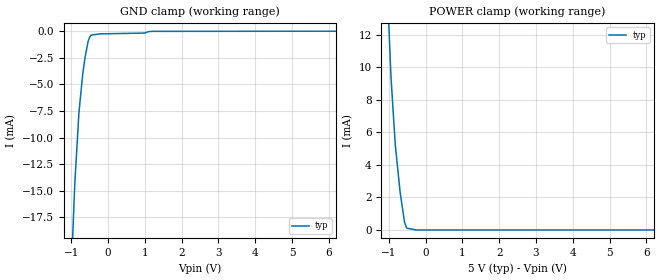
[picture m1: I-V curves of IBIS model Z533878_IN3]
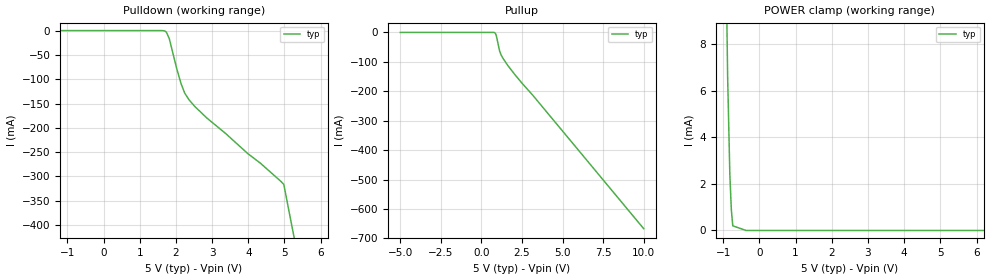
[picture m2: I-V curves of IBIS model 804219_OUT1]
| COPYRIGHT(C) MENTOR GRAPHICS CORPORATION 2001 ALL
| RIGHTS RESERVED. THIS WORK CONTAINS PROPRIETARY
| INFORMATION WHICH IS THE PROPERTY OF MENTOR GRAPHICS
| CORPORATION OR ITS LICENSORS. USE OF THESE MATERIALS
| IS SUBJECT TO THE TERMS BELOW.
| USE: MENTOR GRAPHICS HAS LICENSED IBIS MODELS TO
| SPECIFIC INTEGRATED CIRCUIT SUPPLIERS ("IC VENDORS")
| FOR USE AND DISTRIBUTION AS FOLLOWS: EACH IC VENDOR
| MAY USE IBIS MODELS, AND DISTRIBUTE THEM TO IC VENDOR'S
| CUSTOMERS TO USE, SOLELY FOR DEVELOPING PRINTED
| CIRCUIT BOARD DESIGNS. NO OTHER USE OR DISTRIBUTION
| OF THESE MATERIALS IS PERMITTED.
| DISCLAIMER OF WARRANTY:  UNLESS OTHERWISE AGREED
| IN WRITING, MENTOR GRAPHICS SOFTWARE AND ASSOCIATED
| FILES ARE PROVIDED "AS IS" AND WITHOUT WARRANTY.
| MENTOR GRAPHICS HAS NO OBLIGATION TO SUPPORT OR
| OTHERWISE MAINTAIN SOFTWARE.  MENTOR GRAPHICS MAKES
| NO WARRANTIES, EXPRESS OR IMPLIED WITH RESPECT TO
| SOFTWARE INCLUDING ANY WARRANTY OF MERCHANTABILITY
| OR FITNESS FOR A PARTICULAR PURPOSE.
| LIMITATION OF LIABILITY:  MENTOR GRAPHICS IS NOT LIABLE FOR
| ANY PROPERTY DAMAGE, PERSONAL INJURY, LOSS OF PROFITS,
| INTERRUPTION OF BUSINESS, OR FOR ANY OTHER SPECIAL,
| CONSEQUENTIAL OR INCIDENTAL DAMAGES, HOWEVER CAUSED,
| WHETHER FOR BREACH OF WARRANTY, CONTRACT, TORT
| (INCLUDING NEGLIGENCE), STRICT LIABILITY OR OTHERWISE. IN NO
| EVENT SHALL MENTOR GRAPHICS' LIABILITY EXCEED THE AMOUNT
| PAID FOR THE PRODUCT GIVING RISE TO THE CLAIM.
| TRADEMARKS:  THE FOLLOWING ARE REGISTERED TRADEMARKS
| OR SERVICE MARKS OF MENTOR GRAPHICS CORPORATION:
| ICX, ICX STANDARD LIBRARY, ICX PROJECT MODELING,
| AND ICX CUSTOM MODELING.  THE FOLLOWING ARE TRADEMARKS
| OR SERVICE MARKS OF MENTOR GRAPHICS CORPORATION:
| QUALITYIBIS, MODELVIEWER, AND MODELEDITOR. ALL OTHER
| BRANDS AND PRODUCT NAMES ARE TRADEMARKS OF THEIR
| RESPECTIVE OWNERS.
| COPIES:  ALL COPIES OF SOFTWARE, INCLUDING BUT NOT LIMITED
| TO ANY MODIFICATIONS, ENHANCEMENTS OR DERIVATIVE WORKS
| MUST CONTAIN ALL MENTOR GRAPHICS' NOTICES AND LEGENDS,
| INCLUDING THOSE EMBEDDED IN SOFTWARE AND THOSE AFFIXED
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[IBIS Ver] 3.1
[File Name] mc100elt20d.ibs
[File Rev] 2
[Source] Derived from MC100elt22.ibs and mc100el11d_pecl.ibs
|   measured and created by ICX Technology
[Date] 9/25/2002
[Copyright]
| COPYRIGHT(C) MENTOR GRAPHICS CORPORATION 2001 ALL
| RIGHTS RESERVED. THIS WORK CONTAINS PROPRIETARY
| INFORMATION WHICH IS THE PROPERTY OF MENTOR GRAPHICS
| CORPORATION OR ITS LICENSORS. USE OF THESE MATERIALS
| IS SUBJECT TO THE TERMS BELOW.
| USE: MENTOR GRAPHICS HAS LICENSED IBIS MODELS TO
| SPECIFIC INTEGRATED CIRCUIT SUPPLIERS ("IC VENDORS")
| FOR USE AND DISTRIBUTION AS FOLLOWS: EACH IC VENDOR
| MAY USE IBIS MODELS, AND DISTRIBUTE THEM TO IC VENDOR'S
| CUSTOMERS TO USE, SOLELY FOR DEVELOPING PRINTED
| CIRCUIT BOARD DESIGNS. NO OTHER USE OR DISTRIBUTION
| OF THESE MATERIALS IS PERMITTED.
|  ZAP Model Builder 3.2
[Component] MC100ELT20D
[Manufacturer] OnSemiconductor
[Package]
| variable   typ   min   max
R_pkg  .152ohms NA NA
L_pkg  2.714nH NA NA
C_pkg  .364pF NA NA
[Pin] signal_name  model_name  R_pin  L_pin C_pin
1 NC
2 Q 804219_OUT1 .15 2.504n .354p
3 _Q 804219_OUT1 .15 2.504n .354p
4 NC
5 GND GND .154 2.924n .374p
6 NC
7 D0 Z533878_IN3 .15 2.504n .354p
8 VCC POWER .154 2.924n .374p
[Diff Pin] inv_pin vdiff tdelay_typ tdelay_min tdelay_max
2 3 350mV NA NA NA
| Models and submodels in the file (2): Z533878_IN3 (Input), 804219_OUT1 (Output_ECL)
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| COPYRIGHT(C) MENTOR GRAPHICS CORPORATION 2001 ALL
| RIGHTS RESERVED. THIS WORK CONTAINS PROPRIETARY
| INFORMATION WHICH IS THE PROPERTY OF MENTOR GRAPHICS
| CORPORATION OR ITS LICENSORS. USE OF THESE MATERIALS
| IS SUBJECT TO THE TERMS BELOW.
| USE: MENTOR GRAPHICS HAS LICENSED IBIS MODELS TO
| SPECIFIC INTEGRATED CIRCUIT SUPPLIERS ("IC VENDORS")
| FOR USE AND DISTRIBUTION AS FOLLOWS: EACH IC VENDOR
| MAY USE IBIS MODELS, AND DISTRIBUTE THEM TO IC VENDOR'S
| CUSTOMERS TO USE, SOLELY FOR DEVELOPING PRINTED
| CIRCUIT BOARD DESIGNS. NO OTHER USE OR DISTRIBUTION
| OF THESE MATERIALS IS PERMITTED.
| Model Application Version 1.89 2/18/99.
[Model] Z533878_IN3
Model_type Input
Vinl = 800.0mV
Vinh = 2.000V
C_comp 2.000pF NA NA
| variable typ   min   max
[Voltage Range] 5.000V NA NA
[GND Clamp Reference] 0.000V NA NA
[POWER Clamp Reference] 5.000V NA NA
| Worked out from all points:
|   GND clamp passes 1 mA (typ) near -0.54 V on its own axis
|   POWER clamp passes 1 mA (typ) near -0.60 V on its own axis
[GND Clamp]
-5V       -367.1mA   NA         NA
-902.2mV  -14.37mA   NA         NA
-790.2mV  -7.689mA   NA         NA
-688.6mV  -4.099mA   NA         NA
-622.9mV  -2.45mA    NA         NA
-541.8mV  -976.5uA   NA         NA
-502.2mV  -592.4uA   NA         NA
-463.9mV  -374.8uA   NA         NA
-231.9mV  -250.8uA   NA         NA
989.8mV   -172.9uA   NA         NA
1.207V    -11.63uA   NA         NA
10V       13.49uA    NA         NA
[POWER Clamp]
-5V       339mA      NA         NA
-1.054V   15.76mA    NA         NA
-938mV    9.414mA    NA         NA
-820mV    5.22mA     NA         NA
-688mV    2.297mA    NA         NA
-570mV    477.5uA    NA         NA
-509mV    110.8uA    NA         NA
-254.5mV  0A         NA         NA
10V       0A         NA         NA
| COPYRIGHT(C) MENTOR GRAPHICS CORPORATION 2001 ALL
| RIGHTS RESERVED. THIS WORK CONTAINS PROPRIETARY
| INFORMATION WHICH IS THE PROPERTY OF MENTOR GRAPHICS
| CORPORATION OR ITS LICENSORS. USE OF THESE MATERIALS
| IS SUBJECT TO THE TERMS BELOW.
| USE: MENTOR GRAPHICS HAS LICENSED IBIS MODELS TO
| SPECIFIC INTEGRATED CIRCUIT SUPPLIERS ("IC VENDORS")
| FOR USE AND DISTRIBUTION AS FOLLOWS: EACH IC VENDOR
| MAY USE IBIS MODELS, AND DISTRIBUTE THEM TO IC VENDOR'S
| CUSTOMERS TO USE, SOLELY FOR DEVELOPING PRINTED
| CIRCUIT BOARD DESIGNS. NO OTHER USE OR DISTRIBUTION
| OF THESE MATERIALS IS PERMITTED.
| Model Application Version 1.89 2/18/99.
[Model] 804219_OUT1
Model_type Output_ECL
Vref=3.000V
Rref=50.00ohms
Cref=0.000F
Vmeas=3.550V
C_comp 2.00pF NA NA
| variable typ   min   max
[Voltage Range] 5.000V NA NA
[POWER Clamp Reference] 5.000V NA NA
[Pullup Reference] 5.000V NA NA
[Pulldown Reference] 5.000V NA NA
[GND Clamp Reference] 0.000V NA NA
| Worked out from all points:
|   POWER clamp passes 1 mA (typ) near -0.78 V on its own axis
[GND Clamp]
-5V       0A         NA         NA
10V       0A         NA         NA
[Pulldown]
-5V       0A         NA         NA
1.696V    -1mA       NA         NA
1.737V    -3.3mA     NA         NA
1.818V    -17.1mA    NA         NA
2.02V     -77.8mA    NA         NA
2.142V    -109.3mA   NA         NA
2.243V    -128.6mA   NA         NA
2.365V    -142.7mA   NA         NA
2.851V    -179.6mA   NA         NA
4.331V    -272.5mA   NA         NA
4.98V     -316.2mA   NA         NA
10V       -2.236A    NA         NA
[Pullup]
-5V       0A         NA         NA
845mV     -2mA       NA         NA
926mV     -12.7mA    NA         NA
1.129V    -64.4mA    NA         NA
1.21V     -75.9mA    NA         NA
1.635V    -112.9mA   NA         NA
2.101V    -146mA     NA         NA
3.176V    -214.1mA   NA         NA
10V       -666.9mA   NA         NA
[POWER Clamp]
-5V       895.7mA    NA         NA
-1.121V   38.5mA     NA         NA
-1.02V    22.5mA     NA         NA
-878mV    6.6mA      NA         NA
-817mV    2.4mA      NA         NA
-776mV    900uA      NA         NA
-736mV    200uA      NA         NA
-368mV    0A         NA         NA
10V       0A         NA         NA
[Ramp]
| variable typ min max
dV/dt_r 311.1m/172.3p NA NA
dV/dt_f 311.1m/102.7p NA NA
R_load = 50.00Ohms
